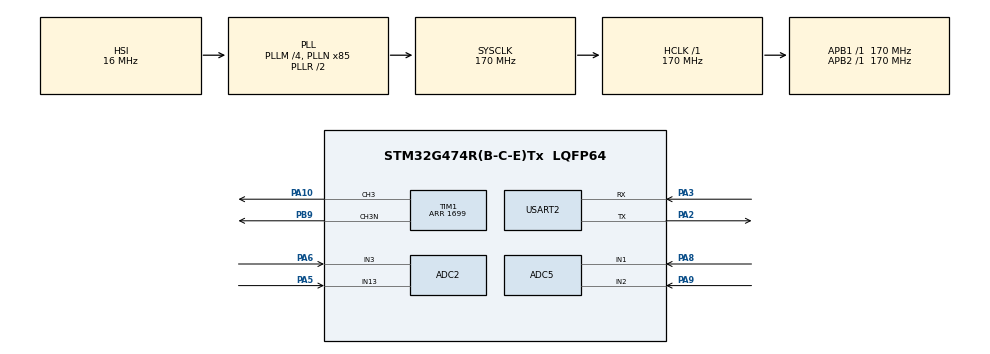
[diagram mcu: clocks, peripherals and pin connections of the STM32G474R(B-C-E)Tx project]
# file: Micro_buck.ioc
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ADC2.Channel-4\#ChannelRegularConversion=ADC_CHANNEL_13
ADC2.Channel-5\#ChannelRegularConversion=ADC_CHANNEL_3
ADC2.ContinuousConvMode=ENABLE
ADC2.DMAContinuousRequests=ENABLE
ADC2.NbrOfConversion=2
ADC2.NbrOfConversionFlag=1
ADC2.OffsetNumber-4\#ChannelRegularConversion=ADC_OFFSET_NONE
ADC2.OffsetNumber-5\#ChannelRegularConversion=ADC_OFFSET_NONE
ADC2.OversamplingMode=ENABLE
ADC2.Rank-4\#ChannelRegularConversion=1
ADC2.Rank-5\#ChannelRegularConversion=2
ADC2.Ratio=ADC_OVERSAMPLING_RATIO_16
ADC2.RightBitShift=ADC_RIGHTBITSHIFT_4
ADC2.SamplingTime-4\#ChannelRegularConversion=ADC_SAMPLETIME_47CYCLES_5
ADC2.SamplingTime-5\#ChannelRegularConversion=ADC_SAMPLETIME_47CYCLES_5
ADC5.Channel-1\#ChannelRegularConversion=ADC_CHANNEL_1
ADC5.Channel-2\#ChannelRegularConversion=ADC_CHANNEL_2
ADC5.ContinuousConvMode=ENABLE
ADC5.DMAContinuousRequests=ENABLE
ADC5.NbrOfConversion=2
ADC5.NbrOfConversionFlag=1
ADC5.OffsetNumber-1\#ChannelRegularConversion=ADC_OFFSET_NONE
ADC5.OffsetNumber-2\#ChannelRegularConversion=ADC_OFFSET_NONE
ADC5.OversamplingMode=ENABLE
ADC5.Rank-1\#ChannelRegularConversion=1
ADC5.Rank-2\#ChannelRegularConversion=2
ADC5.Ratio=ADC_OVERSAMPLING_RATIO_16
ADC5.RightBitShift=ADC_RIGHTBITSHIFT_4
ADC5.SamplingTime-1\#ChannelRegularConversion=ADC_SAMPLETIME_47CYCLES_5
ADC5.SamplingTime-2\#ChannelRegularConversion=ADC_SAMPLETIME_47CYCLES_5
Dma.ADC2.0.Direction=DMA_PERIPH_TO_MEMORY
Dma.ADC2.0.EventEnable=DISABLE
Dma.ADC2.0.Instance=DMA1_Channel1
Dma.ADC2.0.MemDataAlignment=DMA_MDATAALIGN_HALFWORD
Dma.ADC2.0.MemInc=DMA_MINC_ENABLE
Dma.ADC2.0.Mode=DMA_CIRCULAR
Dma.ADC2.0.PeriphDataAlignment=DMA_PDATAALIGN_HALFWORD
Dma.ADC2.0.PeriphInc=DMA_PINC_DISABLE
Dma.ADC2.0.Polarity=HAL_DMAMUX_REQ_GEN_RISING
Dma.ADC2.0.Priority=DMA_PRIORITY_LOW
Dma.ADC2.0.RequestNumber=1
Dma.ADC2.0.SignalID=NONE
Dma.ADC2.0.SyncEnable=DISABLE
Dma.ADC2.0.SyncPolarity=HAL_DMAMUX_SYNC_NO_EVENT
Dma.ADC2.0.SyncRequestNumber=1
Dma.ADC2.0.SyncSignalID=NONE
Dma.ADC5.1.Direction=DMA_PERIPH_TO_MEMORY
Dma.ADC5.1.EventEnable=DISABLE
Dma.ADC5.1.Instance=DMA1_Channel2
Dma.ADC5.1.MemDataAlignment=DMA_MDATAALIGN_HALFWORD
Dma.ADC5.1.MemInc=DMA_MINC_ENABLE
Dma.ADC5.1.Mode=DMA_CIRCULAR
Dma.ADC5.1.PeriphDataAlignment=DMA_PDATAALIGN_HALFWORD
Dma.ADC5.1.PeriphInc=DMA_PINC_DISABLE
Dma.ADC5.1.Polarity=HAL_DMAMUX_REQ_GEN_RISING
Dma.ADC5.1.Priority=DMA_PRIORITY_LOW
Dma.ADC5.1.RequestNumber=1
Dma.ADC5.1.SignalID=NONE
Dma.ADC5.1.SyncEnable=DISABLE
Dma.ADC5.1.SyncPolarity=HAL_DMAMUX_SYNC_NO_EVENT
Dma.ADC5.1.SyncRequestNumber=1
Dma.ADC5.1.SyncSignalID=NONE
Dma.Request0=ADC2
Dma.Request1=ADC5
Mcu.Family=STM32G4
Mcu.Name=STM32G474R(B-C-E)Tx
Mcu.Package=LQFP64
NVIC.DMA1_Channel1_IRQn=true\:0\:0\:false\:false\:true\:false\:true\:true
NVIC.DMA1_Channel2_IRQn=true\:0\:0\:false\:false\:true\:false\:true\:true
NVIC.PriorityGroup=NVIC_PRIORITYGROUP_4
NVIC.USART2_IRQn=true\:0\:0\:false\:false\:true\:true\:true\:true
PA10.Signal=S_TIM1_CH3
PA2.Mode=Asynchronous
PA2.Signal=USART2_TX
PA3.Mode=Asynchronous
PA3.Signal=USART2_RX
PA5.Mode=IN13-Single-Ended
PA5.Signal=ADC2_IN13
PA6.Mode=IN3-Single-Ended
PA6.Signal=ADC2_IN3
PA8.Mode=IN1-Single-Ended
PA8.Signal=ADC5_IN1
PA9.Mode=IN2-Single-Ended
PA9.Signal=ADC5_IN2
PB9.Mode=PWM Generation3 CH3 CH3N
PB9.Signal=TIM1_CH3N
ProjectManager.HeapSize=0x200
ProjectManager.StackSize=0x400
ProjectManager.TargetToolchain=STM32CubeIDE
RCC.ADC12Freq_Value=170000000
RCC.ADC345Freq_Value=170000000
RCC.AHBFreq_Value=170000000
RCC.APB1Freq_Value=170000000
RCC.APB1TimFreq_Value=170000000
RCC.APB2Freq_Value=170000000
RCC.APB2TimFreq_Value=170000000
RCC.CortexFreq_Value=170000000
RCC.EXTERNAL_CLOCK_VALUE=12288000
RCC.HCLKFreq_Value=170000000
RCC.HSE_VALUE=24000000
RCC.HSI48_VALUE=48000000
RCC.HSI_VALUE=16000000
RCC.LSE_VALUE=32768
RCC.PLLM=RCC_PLLM_DIV4
RCC.PLLN=85
RCC.RTCClockSelection=RCC_RTCCLKSOURCE_LSE
RCC.SYSCLKFreq_VALUE=170000000
RCC.SYSCLKSource=RCC_SYSCLKSOURCE_PLLCLK
RCC.USBFreq_Value=170000000
RCC.VCOOutputFreq_Value=340000000
SH.S_TIM1_CH3.0=TIM1_CH3,PWM Generation3 CH3 CH3N
TIM1.Channel-PWM\ Generation3\ CH3\ CH3N=TIM_CHANNEL_3
TIM1.DeadTime=9
TIM1.PeriodNoDither=1699
TIM1.PulseNoDither_3=850
USART2.VirtualMode-Asynchronous=VM_ASYNC
VP_SYS_VS_DBSignals.Mode=DisableDeadBatterySignals
VP_TIM1_VS_ClockSourceINT.Mode=Internal
board=NUCLEO-G474RE

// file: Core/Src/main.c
/* USER CODE BEGIN Header */
/**
  ******************************************************************************
  * @file           : main.c
  * @brief          : Main program body
  ******************************************************************************
  * @attention
  *
  * Copyright (c) 2026 STMicroelectronics.
  * All rights reserved.
  *
  * This software is licensed under terms that can be found in the LICENSE file
  * in the root directory of this software component.
  * If no LICENSE file comes with this software, it is provided AS-IS.
  *
  ******************************************************************************
  */
/* USER CODE END Header */
#include "main.h"
#include <stdio.h>
#include <string.h>
#include <stdlib.h>

ADC_HandleTypeDef hadc2;
ADC_HandleTypeDef hadc5;
DMA_HandleTypeDef hdma_adc2;
DMA_HandleTypeDef hdma_adc5;

TIM_HandleTypeDef htim1;

UART_HandleTypeDef huart2;

/* USER CODE BEGIN PV */
#define UART_TRANSMISSION_INTERVAL_MS 100
#define UART_TRANSMISSION_TIMEOUT_ms 5
#define SEND_BINARY_ADC_READINGS 0

#define ADC2_BUF_LEN 2
#define ADC5_BUF_LEN 2

volatile uint16_t adc2_buffer[ADC2_BUF_LEN];
volatile uint16_t adc5_buffer[ADC5_BUF_LEN];

static const float Vin_rdiv_factor = (50.0f + 1.65f) / 1.65f;  // Resistive divider
static const float Iin_rs_factor   = 1.0f / (0.001f/2.0f * 8.2f * 10.0f);  // 1/(Rs*k_amc*k_oa)
static const float Vo_rdiv_factor  = (50.0f + 2.7f) / 2.7f;  // Resistive divider
static const float Io_rs_factor    = 1.0f / (0.001f/2.0f * 8.2f * 17.0f);  // 1/(Rs*k_amc*k_oa)

volatile float Vin_V = 0.0f;
volatile float Vout_V = 0.0f;
volatile float Iin_A = 0.0f;
volatile float Io_A = 0.0f;

volatile uint16_t Vin_raw = 0.0;
volatile uint16_t Vout_raw = 0.0;
volatile uint16_t Iin_raw = 0.0;
volatile uint16_t Io_raw = 0.0;

char tx_buffer[120];
uint32_t last_tx_time = 0;

volatile uint8_t mode_bo_active = 1;
volatile uint8_t mode_dpt_periodic = 1;

#define CMD_BUFFER_SIZE 64
char rx_cmd_buffer[CMD_BUFFER_SIZE];
uint16_t rx_index = 0;

/* USER CODE END PV */

void SystemClock_Config(void);
static void MX_GPIO_Init(void);
static void MX_DMA_Init(void);
static void MX_ADC2_Init(void);
static void MX_ADC5_Init(void);
static void MX_TIM1_Init(void);
static void MX_USART2_UART_Init(void);
/* USER CODE BEGIN PFP */

void UART_CheckForIncomingCommands(void);
void Parse_SerialCommand(char *cmd_str);
void PWM_SetOutputState(uint8_t enabled);
void PWM_SetDutyCycle(float duty_percent);
void PWM_SetFrequency(uint32_t frequency_hz);
void PWM_SetDeadTime_ns(uint32_t deadtime_ns);

/* USER CODE END PFP */

int main(void)
{

  /* MCU Configuration--------------------------------------------------------*/

  /* Reset of all peripherals, Initializes the Flash interface and the Systick. */
  HAL_Init();

  /* Configure the system clock */
  SystemClock_Config();

  /* Initialize all configured peripherals */
  MX_GPIO_Init();
  MX_DMA_Init();
  MX_ADC2_Init();
  MX_ADC5_Init();
  MX_TIM1_Init();
  MX_USART2_UART_Init();
  /* USER CODE BEGIN 2 */

  HAL_ADCEx_Calibration_Start(&hadc2, ADC_SINGLE_ENDED);
  HAL_ADCEx_Calibration_Start(&hadc5, ADC_SINGLE_ENDED);

  HAL_ADC_Start_DMA(&hadc2, (uint32_t*)adc2_buffer, ADC2_BUF_LEN);
  HAL_ADC_Start_DMA(&hadc5, (uint32_t*)adc5_buffer, ADC5_BUF_LEN);

  // Default-safe state: BO PWM stays off until explicitly enabled by serial command.
  PWM_SetOutputState(0);

  /* USER CODE END 2 */

  /* Infinite loop */
  /* USER CODE BEGIN WHILE */
  while (1)
  {
	  // Check for and process incoming serial commands from Python GUI
	  UART_CheckForIncomingCommands();

	  if (SEND_BINARY_ADC_READINGS){
		  // integer/bitshift efficient operation (1LSB error due to 4095/4096)
		  Iin_raw = adc2_buffer[0];  // PA5
		  Io_raw = adc2_buffer[1];  // PA6
		  Vin_raw = adc5_buffer[0];  // PA8
		  Vout_raw = adc5_buffer[1];  // PA9

	  }
	  else{
		  // float implementation
		  Iin_A = (adc2_buffer[0] * 3.3f) / 4095.0f * Iin_rs_factor;   // PA5
		  Io_A = (adc2_buffer[1] * 3.3f) / 4095.0f * Io_rs_factor;  // PA6
		  Vin_V= (adc5_buffer[0] * 3.3f) / 4095.0f * Vin_rdiv_factor;   // PA8
		  Vout_V = (adc5_buffer[1] * 3.3f) / 4095.0f * Vo_rdiv_factor;    // PA9
	  }

  	  if (HAL_GetTick() - last_tx_time >= UART_TRANSMISSION_INTERVAL_MS)
  	  {
  		  last_tx_time = HAL_GetTick();
  		  int sprint_len = 0;
  		  if (SEND_BINARY_ADC_READINGS){
  			  sprint_len = snprintf(tx_buffer, sizeof(tx_buffer),
			  "Vin:%ib Vo:%ib Iin:%ib Io:%ib\r\n",
			  Vin_raw, Vout_raw, Iin_raw, Io_raw);
  		  }
  		  else{
  			  sprint_len = snprintf(tx_buffer, sizeof(tx_buffer),
			  "Vin:%.3fV Vo:%.3fV Iin:%.3fA Io:%.3fA\r\n",
			  Vin_V, Vout_V, Iin_A, Io_A);
  		  }
  		  if (sprint_len > 0){
  			  HAL_UART_Transmit(&huart2, (uint8_t*)tx_buffer, (uint16_t)sprint_len, UART_TRANSMISSION_TIMEOUT_ms);
  		  }
  	  }

    /* USER CODE END WHILE */

  }
}

void SystemClock_Config(void)
{
  RCC_OscInitTypeDef RCC_OscInitStruct = {0};
  RCC_ClkInitTypeDef RCC_ClkInitStruct = {0};

  /** Configure the main internal regulator output voltage
  */
  HAL_PWREx_ControlVoltageScaling(PWR_REGULATOR_VOLTAGE_SCALE1_BOOST);

  /** Initializes the RCC Oscillators according to the specified parameters
  * in the RCC_OscInitTypeDef structure.
  */
  RCC_OscInitStruct.OscillatorType = RCC_OSCILLATORTYPE_HSI;
  RCC_OscInitStruct.HSIState = RCC_HSI_ON;
  RCC_OscInitStruct.HSICalibrationValue = RCC_HSICALIBRATION_DEFAULT;
  RCC_OscInitStruct.PLL.PLLState = RCC_PLL_ON;
  RCC_OscInitStruct.PLL.PLLSource = RCC_PLLSOURCE_HSI;
  RCC_OscInitStruct.PLL.PLLM = RCC_PLLM_DIV4;
  RCC_OscInitStruct.PLL.PLLN = 85;
  RCC_OscInitStruct.PLL.PLLP = RCC_PLLP_DIV2;
  RCC_OscInitStruct.PLL.PLLQ = RCC_PLLQ_DIV2;
  RCC_OscInitStruct.PLL.PLLR = RCC_PLLR_DIV2;
  if (HAL_RCC_OscConfig(&RCC_OscInitStruct) != HAL_OK)
  {
    Error_Handler();
  }

  /** Initializes the CPU, AHB and APB buses clocks
  */
  RCC_ClkInitStruct.ClockType = RCC_CLOCKTYPE_HCLK|RCC_CLOCKTYPE_SYSCLK
                              |RCC_CLOCKTYPE_PCLK1|RCC_CLOCKTYPE_PCLK2;
  RCC_ClkInitStruct.SYSCLKSource = RCC_SYSCLKSOURCE_PLLCLK;
  RCC_ClkInitStruct.AHBCLKDivider = RCC_SYSCLK_DIV1;
  RCC_ClkInitStruct.APB1CLKDivider = RCC_HCLK_DIV1;
  RCC_ClkInitStruct.APB2CLKDivider = RCC_HCLK_DIV1;

  if (HAL_RCC_ClockConfig(&RCC_ClkInitStruct, FLASH_LATENCY_4) != HAL_OK)
  {
    Error_Handler();
  }
}

static void MX_ADC2_Init(void)
{

  ADC_ChannelConfTypeDef sConfig = {0};

  /** Common config
  */
  hadc2.Instance = ADC2;
  hadc2.Init.ClockPrescaler = ADC_CLOCK_SYNC_PCLK_DIV4;
  hadc2.Init.Resolution = ADC_RESOLUTION_12B;
  hadc2.Init.DataAlign = ADC_DATAALIGN_RIGHT;
  hadc2.Init.GainCompensation = 0;
  hadc2.Init.ScanConvMode = ADC_SCAN_ENABLE;
  hadc2.Init.EOCSelection = ADC_EOC_SINGLE_CONV;
  hadc2.Init.LowPowerAutoWait = DISABLE;
  hadc2.Init.ContinuousConvMode = ENABLE;
  hadc2.Init.NbrOfConversion = 2;
  hadc2.Init.DiscontinuousConvMode = DISABLE;
  hadc2.Init.ExternalTrigConv = ADC_SOFTWARE_START;
  hadc2.Init.ExternalTrigConvEdge = ADC_EXTERNALTRIGCONVEDGE_NONE;
  hadc2.Init.DMAContinuousRequests = ENABLE;
  hadc2.Init.Overrun = ADC_OVR_DATA_PRESERVED;
  hadc2.Init.OversamplingMode = ENABLE;
  hadc2.Init.Oversampling.Ratio = ADC_OVERSAMPLING_RATIO_16;
  hadc2.Init.Oversampling.RightBitShift = ADC_RIGHTBITSHIFT_4;
  hadc2.Init.Oversampling.TriggeredMode = ADC_TRIGGEREDMODE_SINGLE_TRIGGER;
  hadc2.Init.Oversampling.OversamplingStopReset = ADC_REGOVERSAMPLING_CONTINUED_MODE;
  if (HAL_ADC_Init(&hadc2) != HAL_OK)
  {
    Error_Handler();
  }

  /** Configure Regular Channel
  */
  sConfig.Channel = ADC_CHANNEL_13;
  sConfig.Rank = ADC_REGULAR_RANK_1;
  sConfig.SamplingTime = ADC_SAMPLETIME_47CYCLES_5;
  sConfig.SingleDiff = ADC_SINGLE_ENDED;
  sConfig.OffsetNumber = ADC_OFFSET_NONE;
  sConfig.Offset = 0;
  if (HAL_ADC_ConfigChannel(&hadc2, &sConfig) != HAL_OK)
  {
    Error_Handler();
  }

  /** Configure Regular Channel
  */
  sConfig.Channel = ADC_CHANNEL_3;
  sConfig.Rank = ADC_REGULAR_RANK_2;
  if (HAL_ADC_ConfigChannel(&hadc2, &sConfig) != HAL_OK)
  {
    Error_Handler();
  }

}

static void MX_ADC5_Init(void)
{

  ADC_ChannelConfTypeDef sConfig = {0};

  /** Common config
  */
  hadc5.Instance = ADC5;
  hadc5.Init.ClockPrescaler = ADC_CLOCK_SYNC_PCLK_DIV4;
  hadc5.Init.Resolution = ADC_RESOLUTION_12B;
  hadc5.Init.DataAlign = ADC_DATAALIGN_RIGHT;
  hadc5.Init.GainCompensation = 0;
  hadc5.Init.ScanConvMode = ADC_SCAN_ENABLE;
  hadc5.Init.EOCSelection = ADC_EOC_SINGLE_CONV;
  hadc5.Init.LowPowerAutoWait = DISABLE;
  hadc5.Init.ContinuousConvMode = ENABLE;
  hadc5.Init.NbrOfConversion = 2;
  hadc5.Init.DiscontinuousConvMode = DISABLE;
  hadc5.Init.ExternalTrigConv = ADC_SOFTWARE_START;
  hadc5.Init.ExternalTrigConvEdge = ADC_EXTERNALTRIGCONVEDGE_NONE;
  hadc5.Init.DMAContinuousRequests = ENABLE;
  hadc5.Init.Overrun = ADC_OVR_DATA_PRESERVED;
  hadc5.Init.OversamplingMode = ENABLE;
  hadc5.Init.Oversampling.Ratio = ADC_OVERSAMPLING_RATIO_16;
  hadc5.Init.Oversampling.RightBitShift = ADC_RIGHTBITSHIFT_4;
  hadc5.Init.Oversampling.TriggeredMode = ADC_TRIGGEREDMODE_SINGLE_TRIGGER;
  hadc5.Init.Oversampling.OversamplingStopReset = ADC_REGOVERSAMPLING_CONTINUED_MODE;
  if (HAL_ADC_Init(&hadc5) != HAL_OK)
  {
    Error_Handler();
  }

  /** Configure Regular Channel
  */
  sConfig.Channel = ADC_CHANNEL_1;
  sConfig.Rank = ADC_REGULAR_RANK_1;
  sConfig.SamplingTime = ADC_SAMPLETIME_47CYCLES_5;
  sConfig.SingleDiff = ADC_SINGLE_ENDED;
  sConfig.OffsetNumber = ADC_OFFSET_NONE;
  sConfig.Offset = 0;
  if (HAL_ADC_ConfigChannel(&hadc5, &sConfig) != HAL_OK)
  {
    Error_Handler();
  }

  /** Configure Regular Channel
  */
  sConfig.Channel = ADC_CHANNEL_2;
  sConfig.Rank = ADC_REGULAR_RANK_2;
  if (HAL_ADC_ConfigChannel(&hadc5, &sConfig) != HAL_OK)
  {
    Error_Handler();
  }

}

static void MX_TIM1_Init(void)
{

  TIM_ClockConfigTypeDef sClockSourceConfig = {0};
  TIM_MasterConfigTypeDef sMasterConfig = {0};
  TIM_OC_InitTypeDef sConfigOC = {0};
  TIM_BreakDeadTimeConfigTypeDef sBreakDeadTimeConfig = {0};

  htim1.Instance = TIM1;
  htim1.Init.Prescaler = 0;
  htim1.Init.CounterMode = TIM_COUNTERMODE_UP;
  htim1.Init.Period = 1699;
  htim1.Init.ClockDivision = TIM_CLOCKDIVISION_DIV1;
  htim1.Init.RepetitionCounter = 0;
  htim1.Init.AutoReloadPreload = TIM_AUTORELOAD_PRELOAD_DISABLE;
  if (HAL_TIM_Base_Init(&htim1) != HAL_OK)
  {
    Error_Handler();
  }
  sClockSourceConfig.ClockSource = TIM_CLOCKSOURCE_INTERNAL;
  if (HAL_TIM_ConfigClockSource(&htim1, &sClockSourceConfig) != HAL_OK)
  {
    Error_Handler();
  }
  if (HAL_TIM_PWM_Init(&htim1) != HAL_OK)
  {
    Error_Handler();
  }
  sMasterConfig.MasterOutputTrigger = TIM_TRGO_RESET;
  sMasterConfig.MasterOutputTrigger2 = TIM_TRGO2_RESET;
  sMasterConfig.MasterSlaveMode = TIM_MASTERSLAVEMODE_DISABLE;
  if (HAL_TIMEx_MasterConfigSynchronization(&htim1, &sMasterConfig) != HAL_OK)
  {
    Error_Handler();
  }
  sConfigOC.OCMode = TIM_OCMODE_PWM1;
  sConfigOC.Pulse = 850;
  sConfigOC.OCPolarity = TIM_OCPOLARITY_HIGH;
  sConfigOC.OCNPolarity = TIM_OCNPOLARITY_HIGH;
  sConfigOC.OCFastMode = TIM_OCFAST_DISABLE;
  sConfigOC.OCIdleState = TIM_OCIDLESTATE_RESET;
  sConfigOC.OCNIdleState = TIM_OCNIDLESTATE_RESET;
  if (HAL_TIM_PWM_ConfigChannel(&htim1, &sConfigOC, TIM_CHANNEL_3) != HAL_OK)
  {
    Error_Handler();
  }
  sBreakDeadTimeConfig.OffStateRunMode = TIM_OSSR_DISABLE;
  sBreakDeadTimeConfig.OffStateIDLEMode = TIM_OSSI_DISABLE;
  sBreakDeadTimeConfig.LockLevel = TIM_LOCKLEVEL_OFF;
  sBreakDeadTimeConfig.DeadTime = 9;
  sBreakDeadTimeConfig.BreakState = TIM_BREAK_DISABLE;
  sBreakDeadTimeConfig.BreakPolarity = TIM_BREAKPOLARITY_HIGH;
  sBreakDeadTimeConfig.BreakFilter = 0;
  sBreakDeadTimeConfig.BreakAFMode = TIM_BREAK_AFMODE_INPUT;
  sBreakDeadTimeConfig.Break2State = TIM_BREAK2_DISABLE;
  sBreakDeadTimeConfig.Break2Polarity = TIM_BREAK2POLARITY_HIGH;
  sBreakDeadTimeConfig.Break2Filter = 0;
  sBreakDeadTimeConfig.Break2AFMode = TIM_BREAK_AFMODE_INPUT;
  sBreakDeadTimeConfig.AutomaticOutput = TIM_AUTOMATICOUTPUT_DISABLE;
  if (HAL_TIMEx_ConfigBreakDeadTime(&htim1, &sBreakDeadTimeConfig) != HAL_OK)
  {
    Error_Handler();
  }
  HAL_TIM_MspPostInit(&htim1);

}

static void MX_USART2_UART_Init(void)
{

  huart2.Instance = USART2;
  huart2.Init.BaudRate = 115200;
  huart2.Init.WordLength = UART_WORDLENGTH_8B;
  huart2.Init.StopBits = UART_STOPBITS_1;
  huart2.Init.Parity = UART_PARITY_NONE;
  huart2.Init.Mode = UART_MODE_TX_RX;
  huart2.Init.HwFlowCtl = UART_HWCONTROL_NONE;
  huart2.Init.OverSampling = UART_OVERSAMPLING_16;
  huart2.Init.OneBitSampling = UART_ONE_BIT_SAMPLE_DISABLE;
  huart2.Init.ClockPrescaler = UART_PRESCALER_DIV1;
  huart2.AdvancedInit.AdvFeatureInit = UART_ADVFEATURE_NO_INIT;
  if (HAL_UART_Init(&huart2) != HAL_OK)
  {
    Error_Handler();
  }
  if (HAL_UARTEx_SetTxFifoThreshold(&huart2, UART_TXFIFO_THRESHOLD_1_8) != HAL_OK)
  {
    Error_Handler();
  }
  if (HAL_UARTEx_SetRxFifoThreshold(&huart2, UART_RXFIFO_THRESHOLD_1_8) != HAL_OK)
  {
    Error_Handler();
  }
  if (HAL_UARTEx_DisableFifoMode(&huart2) != HAL_OK)
  {
    Error_Handler();
  }

}

static void MX_DMA_Init(void)
{

  /* DMA controller clock enable */
  __HAL_RCC_DMAMUX1_CLK_ENABLE();
  __HAL_RCC_DMA1_CLK_ENABLE();

  /* DMA interrupt init */
  /* DMA1_Channel1_IRQn interrupt configuration */
  HAL_NVIC_SetPriority(DMA1_Channel1_IRQn, 0, 0);
  HAL_NVIC_EnableIRQ(DMA1_Channel1_IRQn);
  /* DMA1_Channel2_IRQn interrupt configuration */
  HAL_NVIC_SetPriority(DMA1_Channel2_IRQn, 0, 0);
  HAL_NVIC_EnableIRQ(DMA1_Channel2_IRQn);

}

static void MX_GPIO_Init(void)
{

  /* GPIO Ports Clock Enable */
  __HAL_RCC_GPIOA_CLK_ENABLE();
  __HAL_RCC_GPIOB_CLK_ENABLE();

}

/* USER CODE BEGIN 4 */

void PWM_SetOutputState(uint8_t enabled)
{
  if (enabled)
  {
    HAL_TIM_PWM_Start(&htim1, TIM_CHANNEL_3);
    HAL_TIMEx_PWMN_Start(&htim1, TIM_CHANNEL_3);
    __HAL_TIM_MOE_ENABLE(&htim1);
  }
  else
  {
    __HAL_TIM_MOE_DISABLE(&htim1);
    HAL_TIMEx_PWMN_Stop(&htim1, TIM_CHANNEL_3);
    HAL_TIM_PWM_Stop(&htim1, TIM_CHANNEL_3);
  }
}

void PWM_SetDutyCycle(float duty_percent)
{
    // Bound the input to safe limits
    if (duty_percent < 0.0f) duty_percent = 0.0f;
    if (duty_percent > 100.0f) duty_percent = 100.0f;

    // Get current ARR max value
    uint32_t current_arr = __HAL_TIM_GET_AUTORELOAD(&htim1);

    // Calculate new pulse value based on ARR scale
    uint32_t pulse = (uint32_t)((duty_percent / 100.0f) * (float)(current_arr + 1));

    // Write directly to the Channel 3 Compare Register
    __HAL_TIM_SET_COMPARE(&htim1, TIM_CHANNEL_3, pulse);
}

void PWM_SetFrequency(uint32_t frequency_hz)
{
    if (frequency_hz == 0) return;

    uint32_t tim_clk = 170000000; // Your clock is explicitly configured to 170MHz
    uint32_t new_arr = (tim_clk / frequency_hz) - 1;

    // Constrain to 16-bit timer limits (0 to 65535)
    if (new_arr > 65535) new_arr = 65535;
    if (new_arr < 1) new_arr = 1;

    // Calculate previous duty ratio to preserve it across the frequency shift
    uint32_t old_arr = __HAL_TIM_GET_AUTORELOAD(&htim1);
    uint32_t old_pulse = __HAL_TIM_GET_COMPARE(&htim1, TIM_CHANNEL_3);
    float duty_ratio = (float)old_pulse / (float)(old_arr + 1);

    // Update the Frequency window
    __HAL_TIM_SET_AUTORELOAD(&htim1, new_arr);

    // Re-apply scaled pulse value for the new window scale
    uint32_t new_pulse = (uint32_t)(duty_ratio * (float)(new_arr + 1));
    __HAL_TIM_SET_COMPARE(&htim1, TIM_CHANNEL_3, new_pulse);
}

void PWM_SetDeadTime_ns(uint32_t deadtime_ns)
{
    // 1 tick = 1000 / 170 MHz = 5.88235 ns.
    // Convert target nanoseconds to required clock ticks, rounding up for safety.
	uint32_t ticks = ((deadtime_ns * 170) + 999) / 1000;

    // Safety clamp: 127 ticks is the maximum limit for Range 1 (~747 ns)
	// But we clamp here at 32/170MHz = 188ns to prevent errors.
    if (ticks > 32) ticks = 32;

    uint8_t dtg_value = (uint8_t)ticks;

    // Safely write to the BDTR register without disturbing other system flags
    uint32_t temp_bdtr = htim1.Instance->BDTR;
    temp_bdtr &= ~TIM_BDTR_DTG;       // Clear the current 8-bit DTG configuration
    temp_bdtr |= (uint32_t)dtg_value; // Inject the newly calculated step count
    htim1.Instance->BDTR = temp_bdtr;  // Commit back to the hardware register
}

/**
  * @brief  Parses a completed command string.
  *
  * Supported formats:
  *   PWM:DUTY:<float>          - Set duty cycle in percent (0..100)
  *   PWM:FREQ:<uint_hz>        - Set switching frequency in Hz
  *   PWM:DT:<uint_ns>          - Set deadtime in nanoseconds
  *   BO:ENABLE:<0|1>           - Enable (1) or disable (0) PWM output
  *   DPT:SINGLE_SHOT           - Trigger one DPT pulse sequence
  *   DPT:SET;<k=v>;...         - Configure DPT parameters (semicolon-separated key=value pairs)
  *     Keys: ton1_us, toff_us, ton2_us, cooldown_us, mode, period_ms, periodic_enable
  *   MODE:BO:active            - Switch MCU to Buck Operation mode
  *   MODE:DPT:<periodic|single_shot> - Switch MCU to DPT mode
  */
void Parse_SerialCommand(char *cmd_str)
{
    char *mode  = strtok(cmd_str, ":");
    char *param = strtok(NULL, ":");
    char *value = strtok(NULL, ":");

    if (mode == NULL || param == NULL) return;

    /* ---- PWM controls: duty, frequency, deadtime ---- */
    if (strcmp(mode, "PWM") == 0)
    {
        if (value == NULL) return;

        if (strcmp(param, "DUTY") == 0)
        {
            PWM_SetDutyCycle(strtof(value, NULL));
        }
        else if (strcmp(param, "FREQ") == 0)
        {
            PWM_SetFrequency((uint32_t)atoi(value));
        }
        else if (strcmp(param, "DT") == 0)
        {
            PWM_SetDeadTime_ns((uint32_t)atoi(value));
        }
    }
    /* ---- Buck operation enable/disable ---- */
    else if (strcmp(mode, "BO") == 0)
    {
        if ((strcmp(param, "ENABLE") == 0 || strcmp(param, "STATE") == 0) && value != NULL)
        {
        PWM_SetOutputState((uint8_t)(atoi(value) == 1));
        }
    }
    /* ---- DPT controls ---- */
    else if (strcmp(mode, "DPT") == 0)
    {
        if (strcmp(param, "SINGLE_SHOT") == 0)
        {
            // TODO: trigger single-shot DPT pulse sequence
        }
        else if (strncmp(param, "SET", 3) == 0 && param[3] == ';')
        {
            // Format: DPT:SET;ton1_us=X;toff_us=X;ton2_us=X;cooldown_us=X;
            //                mode=X;period_ms=X;periodic_enable=X
            char *kv_pair = strtok(param + 4, ";");
            while (kv_pair != NULL)
            {
                char *eq = strchr(kv_pair, '=');
                if (eq != NULL)
                {
                    *eq = '\0';
                    char *key = kv_pair;
                    char *val = eq + 1;
                    (void)val;

                    if      (strcmp(key, "ton1_us") == 0)         { /* TODO: set T1 */ }
                    else if (strcmp(key, "toff_us") == 0)         { /* TODO: set Toff */ }
                    else if (strcmp(key, "ton2_us") == 0)         { /* TODO: set T2 */ }
                    else if (strcmp(key, "cooldown_us") == 0)     { /* TODO: set cooldown */ }
                    else if (strcmp(key, "period_ms") == 0)       { /* TODO: set period */ }
                    else if (strcmp(key, "periodic_enable") == 0) { /* TODO: enable/disable periodic */ }
                    else if (strcmp(key, "mode") == 0)            { /* TODO: set DPT mode (periodic/single_shot) */ }
                }
                kv_pair = strtok(NULL, ";");
            }
        }
    }
    /* ---- Operation mode switch ---- */
    else if (strcmp(mode, "MODE") == 0)
    {
      if (strcmp(param, "BO") == 0)
      {
        mode_bo_active = 1;
        // Entering BO mode always starts with PWM disabled; BO:ENABLE:1 must arm it.
        PWM_SetOutputState(0);
      }
      else if (strcmp(param, "DPT") == 0)
      {
        mode_bo_active = 0;

        if (value != NULL)
        {
          if (strcmp(value, "periodic") == 0)
          {
            mode_dpt_periodic = 1;
          }
          else if (strcmp(value, "single_shot") == 0)
          {
            mode_dpt_periodic = 0;
          }
        }
      }
    }
}

/**
  * @brief  Polls the UART for incoming bytes non-blockingly, aggregates them
  * into a line buffer, and passes them to the parser when a newline arrives.
  */
void UART_CheckForIncomingCommands(void)
{
    uint8_t incoming_byte;

    // Call HAL UART receive with a timeout of 0.
    // This makes it completely non-blocking; it grabs a byte if it's there, or returns immediately.
    while (HAL_UART_Receive(&huart2, &incoming_byte, 1, 0) == HAL_OK)
    {
        // Look for string termination characters (newline or carriage return)
        if (incoming_byte == '\n' || incoming_byte == '\r')
        {
            if (rx_index > 0) // Only parse if we actually collected characters
            {
                rx_cmd_buffer[rx_index] = '\0'; // Properly null-terminate the C-string
                Parse_SerialCommand(rx_cmd_buffer); // Hand it over to the parser
                rx_index = 0; // Reset index for the next incoming command
            }
        }
        else
        {
            // Drop any invisible styling or padding characters spaces
            if (incoming_byte >= 32 && incoming_byte <= 126)
            {
                // Store the character if there is room remaining in the buffer
                if (rx_index < (CMD_BUFFER_SIZE - 1)) {
                    rx_cmd_buffer[rx_index++] = (char)incoming_byte;
                } else {
                    rx_index = 0; // Buffer overflow safety reset
                }
            }
        }
    }
}

/* USER CODE END 4 */

void Error_Handler(void)
{
  __disable_irq();
  while (1)
  {
  }
}
